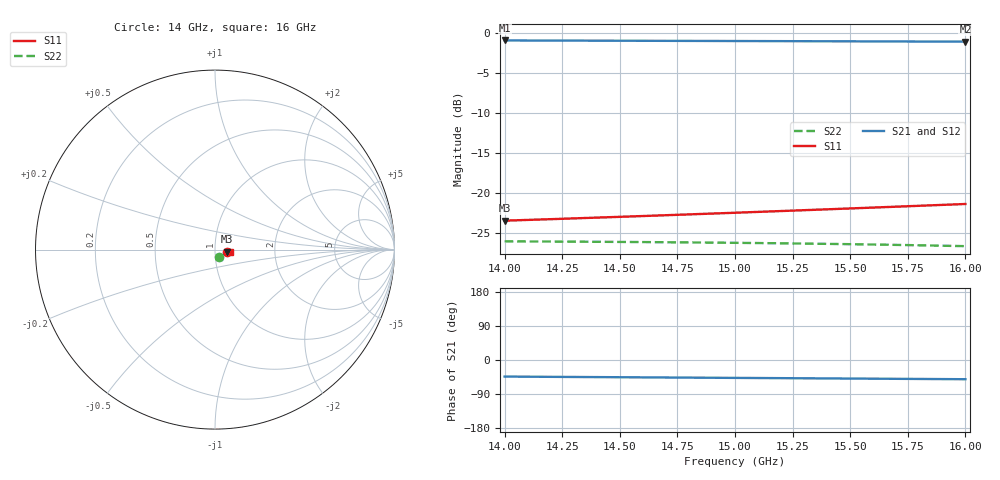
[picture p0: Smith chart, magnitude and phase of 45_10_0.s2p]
! Created Tue Dec 15 14:18:20 2020
# hz S ma R 50
! 2 Port Network Data from Sweep1.SP1.SP block
! freq  magS11  angS11  magS21  angS21  magS12  angS12  magS22  angS22
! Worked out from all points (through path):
!   21 points, 14 GHz to 16 GHz, reference 50 ohm
!   highest |S21| = -0.89 dB at 14 GHz (marker M1); lowest = -1.0 dB at 16 GHz (marker M2)
!   group delay of S21, straight-line fit = 9.69 ps
!   lowest |S11| = -23.5 dB at 14 GHz (marker M3), VSWR 1.14, Z = 57 - j1.33 ohm
!   |S11| at or under -10 dB: start of sweep to end of sweep
!   |S22| runs from -26.7 to -26.1 dB; largest |S21 - S12| = 0
1.4e10  0.067 -10.0  0.9026 -43.8  0.9026 -43.8  0.04971 -60.1
1.41e10  0.06773 -9.9  0.9019 -44.1  0.9019 -44.1  0.04964 -60.3
1.42e10  0.06847 -9.8  0.9012 -44.4  0.9012 -44.4  0.04957 -60.5
1.43e10  0.06924 -9.7  0.9005 -44.8  0.9005 -44.8  0.04949 -60.7
1.44e10  0.07002 -9.6  0.8997 -45.1  0.8997 -45.1  0.0494 -60.8
1.45e10  0.07082 -9.6  0.899 -45.5  0.899 -45.5  0.04931 -61.0
1.46e10  0.07164 -9.5  0.8983 -45.8  0.8983 -45.8  0.0492 -61.2
1.47e10  0.07248 -9.4  0.8975 -46.2  0.8975 -46.2  0.04908 -61.3
1.48e10  0.07334 -9.4  0.8968 -46.5  0.8968 -46.5  0.04896 -61.5
1.49e10  0.07422 -9.3  0.896 -46.9  0.896 -46.9  0.04882 -61.6
1.5e10  0.07512 -9.3  0.8952 -47.2  0.8952 -47.2  0.04867 -61.8
1.51e10  0.07604 -9.2  0.8944 -47.6  0.8944 -47.6  0.04851 -61.9
1.52e10  0.07698 -9.2  0.8937 -47.9  0.8937 -47.9  0.04833 -62.0
1.53e10  0.07794 -9.2  0.8929 -48.3  0.8929 -48.3  0.04814 -62.2
1.54e10  0.07892 -9.1  0.8921 -48.6  0.8921 -48.6  0.04794 -62.3
1.55e10  0.07992 -9.1  0.8913 -49.0  0.8913 -49.0  0.04772 -62.4
1.56e10  0.08095 -9.1  0.8905 -49.3  0.8905 -49.3  0.04749 -62.5
1.57e10  0.08199 -9.1  0.8897 -49.7  0.8897 -49.7  0.04724 -62.6
1.58e10  0.08305 -9.1  0.8888 -50.0  0.8888 -50.0  0.04697 -62.7
1.59e10  0.08413 -9.2  0.888 -50.4  0.888 -50.4  0.04668 -62.8
1.6e10  0.08524 -9.2  0.8872 -50.7  0.8872 -50.7  0.04637 -62.8
